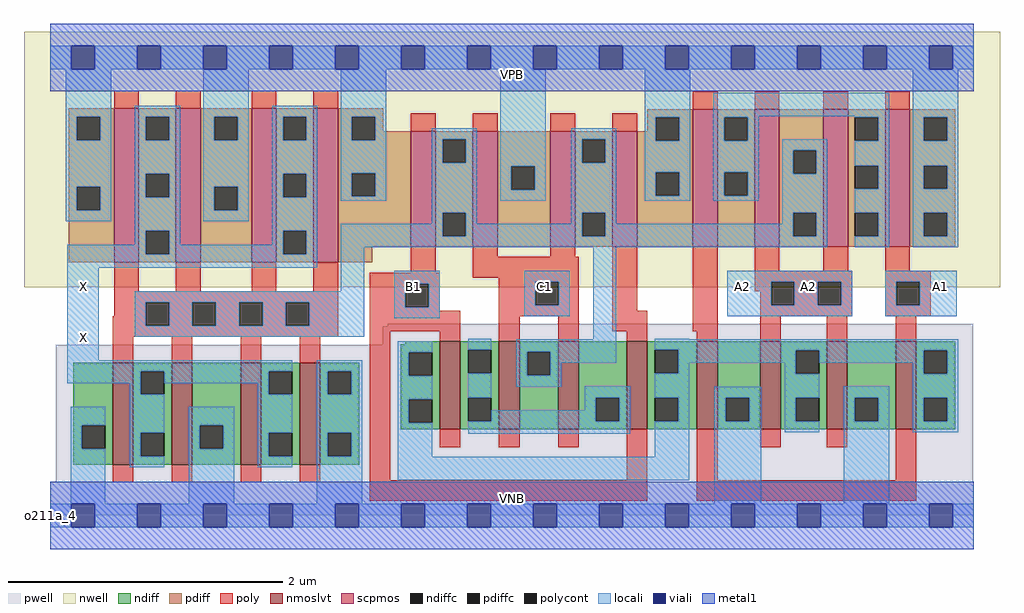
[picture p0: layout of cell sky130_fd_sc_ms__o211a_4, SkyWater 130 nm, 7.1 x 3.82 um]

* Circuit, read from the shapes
.subckt sky130_fd_sc_ms__o211a_4 A1 A2 B1 C1 VGND VNB VPB VPWR X
XM1 X n1 VGND VNB sky130_fd_pr__nfet_01v8_lvt w=0.74 l=0.15 m=4
XM2 n2 B1 n3 VNB sky130_fd_pr__nfet_01v8_lvt w=0.64 l=0.15 m=2
XM3 n1 C1 n2 VNB sky130_fd_pr__nfet_01v8_lvt w=0.64 l=0.15 m=2
XM4 VGND A1 n3 VNB sky130_fd_pr__nfet_01v8_lvt w=0.64 l=0.15 m=2
XM5 n3 A2 VGND VNB sky130_fd_pr__nfet_01v8_lvt w=0.64 l=0.15 m=2
XM6 X n1 VPWR VPB sky130_fd_pr__pfet_01v8 w=1.12 l=0.18 m=4
XM7 n1 B1 VPWR VPB sky130_fd_pr__pfet_01v8 w=0.84 l=0.18 m=2
XM8 VPWR C1 n1 VPB sky130_fd_pr__pfet_01v8 w=0.84 l=0.18 m=2
XM9 n4 A1 VPWR VPB sky130_fd_pr__pfet_01v8 w=1 l=0.18 m=2
XM10 n1 A2 n4 VPB sky130_fd_pr__pfet_01v8 w=1 l=0.18 m=2
.ends

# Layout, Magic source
magic
tech sky130A
magscale 1 2
<< nwell >>
rect -38 332 1382 704
<< pwell >>
rect 491 275 1343 279
rect 484 248 1343 275
rect 8 49 1343 248
rect 0 0 1344 49
<< scpmos >>
rect 93 368 129 592
rect 183 368 219 592
rect 293 368 329 592
rect 383 368 419 592
rect 525 391 561 559
rect 615 391 651 559
rect 728 391 764 559
rect 818 391 854 559
rect 935 391 971 591
rect 1025 391 1061 591
rect 1125 391 1161 591
rect 1215 391 1251 591
<< nmoslvt >>
rect 91 74 121 222
rect 177 74 207 222
rect 277 74 307 222
rect 363 74 393 222
rect 567 125 597 253
rect 653 125 683 253
rect 739 125 769 253
rect 839 125 869 253
rect 941 125 971 253
rect 1033 125 1063 253
rect 1130 125 1160 253
rect 1230 125 1260 253
<< ndiff >>
rect 34 131 91 222
rect 34 97 46 131
rect 80 97 91 131
rect 34 74 91 97
rect 121 210 177 222
rect 121 176 132 210
rect 166 176 177 210
rect 121 120 177 176
rect 121 86 132 120
rect 166 86 177 120
rect 121 74 177 86
rect 207 131 277 222
rect 207 97 218 131
rect 252 97 277 131
rect 207 74 277 97
rect 307 210 363 222
rect 307 176 318 210
rect 352 176 363 210
rect 307 120 363 176
rect 307 86 318 120
rect 352 86 363 120
rect 307 74 363 86
rect 393 210 450 222
rect 393 176 404 210
rect 438 176 450 210
rect 393 120 450 176
rect 393 86 404 120
rect 438 86 450 120
rect 393 74 450 86
rect 517 249 567 253
rect 510 237 567 249
rect 510 203 522 237
rect 556 203 567 237
rect 510 169 567 203
rect 510 135 522 169
rect 556 135 567 169
rect 510 125 567 135
rect 597 241 653 253
rect 597 207 608 241
rect 642 207 653 241
rect 597 171 653 207
rect 597 137 608 171
rect 642 137 653 171
rect 597 125 653 137
rect 683 238 739 253
rect 683 204 694 238
rect 728 204 739 238
rect 683 125 739 204
rect 769 171 839 253
rect 769 137 794 171
rect 828 137 839 171
rect 769 125 839 137
rect 869 241 941 253
rect 869 207 880 241
rect 914 207 941 241
rect 869 171 941 207
rect 869 137 880 171
rect 914 137 941 171
rect 869 125 941 137
rect 971 171 1033 253
rect 971 137 983 171
rect 1017 137 1033 171
rect 971 125 1033 137
rect 1063 240 1130 253
rect 1063 206 1085 240
rect 1119 206 1130 240
rect 1063 171 1130 206
rect 1063 137 1085 171
rect 1119 137 1130 171
rect 1063 125 1130 137
rect 1160 171 1230 253
rect 1160 137 1171 171
rect 1205 137 1230 171
rect 1160 125 1230 137
rect 1260 240 1317 253
rect 1260 206 1271 240
rect 1305 206 1317 240
rect 1260 171 1317 206
rect 1260 137 1271 171
rect 1305 137 1317 171
rect 1260 125 1317 137
<< pdiff >>
rect 27 580 93 592
rect 27 546 39 580
rect 73 546 93 580
rect 27 478 93 546
rect 27 444 39 478
rect 73 444 93 478
rect 27 368 93 444
rect 129 580 183 592
rect 129 546 139 580
rect 173 546 183 580
rect 129 497 183 546
rect 129 463 139 497
rect 173 463 183 497
rect 129 414 183 463
rect 129 380 139 414
rect 173 380 183 414
rect 129 368 183 380
rect 219 580 293 592
rect 219 546 239 580
rect 273 546 293 580
rect 219 478 293 546
rect 219 444 239 478
rect 273 444 293 478
rect 219 368 293 444
rect 329 580 383 592
rect 329 546 339 580
rect 373 546 383 580
rect 329 497 383 546
rect 329 463 339 497
rect 373 463 383 497
rect 329 414 383 463
rect 329 380 339 414
rect 373 380 383 414
rect 329 368 383 380
rect 419 580 485 592
rect 419 546 439 580
rect 473 559 485 580
rect 869 579 935 591
rect 869 559 881 579
rect 473 546 525 559
rect 419 498 525 546
rect 419 464 439 498
rect 473 464 525 498
rect 419 391 525 464
rect 561 547 615 559
rect 561 513 571 547
rect 605 513 615 547
rect 561 440 615 513
rect 561 406 571 440
rect 605 406 615 440
rect 561 391 615 406
rect 651 508 728 559
rect 651 474 671 508
rect 705 474 728 508
rect 651 391 728 474
rect 764 547 818 559
rect 764 513 774 547
rect 808 513 818 547
rect 764 440 818 513
rect 764 406 774 440
rect 808 406 818 440
rect 764 391 818 406
rect 854 545 881 559
rect 915 545 935 579
rect 854 499 935 545
rect 854 465 881 499
rect 915 465 935 499
rect 854 391 935 465
rect 971 579 1025 591
rect 971 545 981 579
rect 1015 545 1025 579
rect 971 499 1025 545
rect 971 465 981 499
rect 1015 465 1025 499
rect 971 391 1025 465
rect 1061 531 1125 591
rect 1061 497 1081 531
rect 1115 497 1125 531
rect 1061 440 1125 497
rect 1061 406 1081 440
rect 1115 406 1125 440
rect 1061 391 1125 406
rect 1161 579 1215 591
rect 1161 545 1171 579
rect 1205 545 1215 579
rect 1161 509 1215 545
rect 1161 475 1171 509
rect 1205 475 1215 509
rect 1161 440 1215 475
rect 1161 406 1171 440
rect 1205 406 1215 440
rect 1161 391 1215 406
rect 1251 579 1317 591
rect 1251 545 1271 579
rect 1305 545 1317 579
rect 1251 509 1317 545
rect 1251 475 1271 509
rect 1305 475 1317 509
rect 1251 440 1317 475
rect 1251 406 1271 440
rect 1305 406 1317 440
rect 1251 391 1317 406
rect 419 368 469 391
<< ndiffc >>
rect 46 97 80 131
rect 132 176 166 210
rect 132 86 166 120
rect 218 97 252 131
rect 318 176 352 210
rect 318 86 352 120
rect 404 176 438 210
rect 404 86 438 120
rect 522 203 556 237
rect 522 135 556 169
rect 608 207 642 241
rect 608 137 642 171
rect 694 204 728 238
rect 794 137 828 171
rect 880 207 914 241
rect 880 137 914 171
rect 983 137 1017 171
rect 1085 206 1119 240
rect 1085 137 1119 171
rect 1171 137 1205 171
rect 1271 206 1305 240
rect 1271 137 1305 171
<< pdiffc >>
rect 39 546 73 580
rect 39 444 73 478
rect 139 546 173 580
rect 139 463 173 497
rect 139 380 173 414
rect 239 546 273 580
rect 239 444 273 478
rect 339 546 373 580
rect 339 463 373 497
rect 339 380 373 414
rect 439 546 473 580
rect 439 464 473 498
rect 571 513 605 547
rect 571 406 605 440
rect 671 474 705 508
rect 774 513 808 547
rect 774 406 808 440
rect 881 545 915 579
rect 881 465 915 499
rect 981 545 1015 579
rect 981 465 1015 499
rect 1081 497 1115 531
rect 1081 406 1115 440
rect 1171 545 1205 579
rect 1171 475 1205 509
rect 1171 406 1205 440
rect 1271 545 1305 579
rect 1271 475 1305 509
rect 1271 406 1305 440
<< poly >>
rect 93 592 129 618
rect 183 592 219 618
rect 293 592 329 618
rect 383 592 419 618
rect 935 591 971 617
rect 1025 591 1061 617
rect 1125 591 1161 617
rect 1215 591 1251 617
rect 525 559 561 585
rect 615 559 651 585
rect 728 559 764 585
rect 818 559 854 585
rect 93 326 129 368
rect 183 326 219 368
rect 293 326 329 368
rect 383 326 419 368
rect 525 353 561 391
rect 615 376 651 391
rect 728 376 764 391
rect 93 310 419 326
rect 93 290 139 310
rect 91 276 139 290
rect 173 276 207 310
rect 241 276 275 310
rect 309 276 343 310
rect 377 276 419 310
rect 91 260 419 276
rect 465 337 567 353
rect 615 346 769 376
rect 465 303 517 337
rect 551 303 567 337
rect 465 298 567 303
rect 653 340 769 346
rect 653 306 706 340
rect 740 306 769 340
rect 465 268 597 298
rect 91 222 121 260
rect 177 222 207 260
rect 277 222 307 260
rect 363 222 393 260
rect 91 48 121 74
rect 177 48 207 74
rect 277 48 307 74
rect 363 48 393 74
rect 465 51 495 268
rect 567 253 597 268
rect 653 290 769 306
rect 653 253 683 290
rect 739 253 769 290
rect 818 298 854 391
rect 818 268 869 298
rect 935 268 971 391
rect 1025 356 1061 391
rect 1125 356 1161 391
rect 1215 356 1251 391
rect 1025 340 1167 356
rect 1025 326 1049 340
rect 839 253 869 268
rect 941 253 971 268
rect 1033 306 1049 326
rect 1083 306 1117 340
rect 1151 306 1167 340
rect 1033 290 1167 306
rect 1215 340 1281 356
rect 1215 306 1231 340
rect 1265 306 1281 340
rect 1215 290 1281 306
rect 1033 253 1063 290
rect 1130 253 1160 290
rect 1230 253 1260 290
rect 567 99 597 125
rect 653 99 683 125
rect 739 99 769 125
rect 839 51 869 125
rect 465 21 869 51
rect 941 51 971 125
rect 1033 99 1063 125
rect 1130 99 1160 125
rect 1230 51 1260 125
rect 941 21 1260 51
<< polycont >>
rect 139 276 173 310
rect 207 276 241 310
rect 275 276 309 310
rect 343 276 377 310
rect 517 303 551 337
rect 706 306 740 340
rect 1049 306 1083 340
rect 1117 306 1151 340
rect 1231 306 1265 340
<< locali >>
rect 0 649 31 683
rect 65 649 127 683
rect 161 649 223 683
rect 257 649 319 683
rect 353 649 415 683
rect 449 649 511 683
rect 545 649 607 683
rect 641 649 703 683
rect 737 649 799 683
rect 833 649 895 683
rect 929 649 991 683
rect 1025 649 1087 683
rect 1121 649 1183 683
rect 1217 649 1279 683
rect 1313 649 1344 683
rect 23 580 89 649
rect 23 546 39 580
rect 73 546 89 580
rect 23 478 89 546
rect 23 444 39 478
rect 73 444 89 478
rect 23 428 89 444
rect 123 580 189 596
rect 123 546 139 580
rect 173 546 189 580
rect 123 497 189 546
rect 123 463 139 497
rect 173 463 189 497
rect 123 414 189 463
rect 223 580 289 649
rect 223 546 239 580
rect 273 546 289 580
rect 223 478 289 546
rect 223 444 239 478
rect 273 444 289 478
rect 223 428 289 444
rect 323 580 389 596
rect 323 546 339 580
rect 373 546 389 580
rect 323 497 389 546
rect 323 463 339 497
rect 373 463 389 497
rect 123 394 139 414
rect 25 380 139 394
rect 173 394 189 414
rect 323 414 389 463
rect 423 580 489 649
rect 423 546 439 580
rect 473 546 489 580
rect 423 498 489 546
rect 423 464 439 498
rect 473 464 489 498
rect 423 458 489 464
rect 555 547 621 563
rect 555 513 571 547
rect 605 513 621 547
rect 555 440 621 513
rect 655 508 721 649
rect 865 579 931 649
rect 655 474 671 508
rect 705 474 721 508
rect 655 458 721 474
rect 758 547 824 563
rect 758 513 774 547
rect 808 513 824 547
rect 555 424 571 440
rect 323 394 339 414
rect 173 380 339 394
rect 373 380 389 414
rect 25 360 389 380
rect 423 406 571 424
rect 605 424 621 440
rect 758 440 824 513
rect 865 545 881 579
rect 915 545 931 579
rect 865 499 931 545
rect 865 465 881 499
rect 915 465 931 499
rect 865 458 931 465
rect 965 581 1221 615
rect 965 579 1031 581
rect 965 545 981 579
rect 1015 545 1031 579
rect 1171 579 1221 581
rect 965 499 1031 545
rect 965 465 981 499
rect 1015 465 1031 499
rect 965 458 1031 465
rect 1065 531 1131 547
rect 1065 497 1081 531
rect 1115 497 1131 531
rect 758 424 774 440
rect 605 406 774 424
rect 808 424 824 440
rect 1065 440 1131 497
rect 1065 424 1081 440
rect 808 406 1081 424
rect 1115 406 1131 440
rect 423 390 1131 406
rect 1205 545 1221 579
rect 1171 509 1221 545
rect 1205 475 1221 509
rect 1171 440 1221 475
rect 1205 406 1221 440
rect 1171 390 1221 406
rect 1255 579 1321 649
rect 1255 545 1271 579
rect 1305 545 1321 579
rect 1255 509 1321 545
rect 1255 475 1271 509
rect 1305 475 1321 509
rect 1255 440 1321 475
rect 1255 406 1271 440
rect 1305 406 1321 440
rect 1255 390 1321 406
rect 25 226 71 360
rect 423 326 457 390
rect 123 310 457 326
rect 123 276 139 310
rect 173 276 207 310
rect 241 276 275 310
rect 309 276 343 310
rect 377 276 457 310
rect 501 337 567 356
rect 501 303 517 337
rect 551 303 567 337
rect 501 287 567 303
rect 690 340 756 356
rect 690 306 706 340
rect 740 306 756 340
rect 690 290 756 306
rect 123 260 457 276
rect 506 237 556 253
rect 25 210 352 226
rect 25 192 132 210
rect 116 176 132 192
rect 166 192 318 210
rect 30 131 80 158
rect 30 97 46 131
rect 30 17 80 97
rect 116 120 166 176
rect 302 176 318 192
rect 116 86 132 120
rect 116 70 166 86
rect 202 131 268 158
rect 202 97 218 131
rect 252 97 268 131
rect 202 17 268 97
rect 302 120 352 176
rect 302 86 318 120
rect 302 70 352 86
rect 388 210 454 226
rect 388 176 404 210
rect 438 176 454 210
rect 388 120 454 176
rect 388 86 404 120
rect 438 86 454 120
rect 388 17 454 86
rect 506 203 522 237
rect 506 169 556 203
rect 506 135 522 169
rect 506 85 556 135
rect 608 241 642 257
rect 790 256 824 390
rect 985 340 1167 356
rect 985 306 1049 340
rect 1083 306 1117 340
rect 1151 306 1167 340
rect 985 290 1167 306
rect 1215 340 1319 356
rect 1215 306 1231 340
rect 1265 306 1319 340
rect 1215 290 1319 306
rect 608 171 642 207
rect 678 238 824 256
rect 678 204 694 238
rect 728 222 824 238
rect 880 256 930 257
rect 880 241 1321 256
rect 728 204 744 222
rect 678 187 744 204
rect 914 240 1321 241
rect 914 222 1085 240
rect 914 207 930 222
rect 778 171 844 188
rect 778 153 794 171
rect 642 137 794 153
rect 828 137 844 171
rect 608 119 844 137
rect 880 171 930 207
rect 1069 206 1085 222
rect 1119 222 1271 240
rect 914 137 930 171
rect 880 85 930 137
rect 506 51 930 85
rect 966 171 1035 187
rect 966 137 983 171
rect 1017 137 1035 171
rect 966 17 1035 137
rect 1069 171 1119 206
rect 1255 206 1271 222
rect 1305 206 1321 240
rect 1069 137 1085 171
rect 1069 121 1119 137
rect 1155 171 1221 188
rect 1155 137 1171 171
rect 1205 137 1221 171
rect 1155 17 1221 137
rect 1255 171 1321 206
rect 1255 137 1271 171
rect 1305 137 1321 171
rect 1255 121 1321 137
rect 0 -17 31 17
rect 65 -17 127 17
rect 161 -17 223 17
rect 257 -17 319 17
rect 353 -17 415 17
rect 449 -17 511 17
rect 545 -17 607 17
rect 641 -17 703 17
rect 737 -17 799 17
rect 833 -17 895 17
rect 929 -17 991 17
rect 1025 -17 1087 17
rect 1121 -17 1183 17
rect 1217 -17 1279 17
rect 1313 -17 1344 17
<< viali >>
rect 31 649 65 683
rect 127 649 161 683
rect 223 649 257 683
rect 319 649 353 683
rect 415 649 449 683
rect 511 649 545 683
rect 607 649 641 683
rect 703 649 737 683
rect 799 649 833 683
rect 895 649 929 683
rect 991 649 1025 683
rect 1087 649 1121 683
rect 1183 649 1217 683
rect 1279 649 1313 683
rect 31 -17 65 17
rect 127 -17 161 17
rect 223 -17 257 17
rect 319 -17 353 17
rect 415 -17 449 17
rect 511 -17 545 17
rect 607 -17 641 17
rect 703 -17 737 17
rect 799 -17 833 17
rect 895 -17 929 17
rect 991 -17 1025 17
rect 1087 -17 1121 17
rect 1183 -17 1217 17
rect 1279 -17 1313 17
<< metal1 >>
rect 0 683 1344 715
rect 0 649 31 683
rect 65 649 127 683
rect 161 649 223 683
rect 257 649 319 683
rect 353 649 415 683
rect 449 649 511 683
rect 545 649 607 683
rect 641 649 703 683
rect 737 649 799 683
rect 833 649 895 683
rect 929 649 991 683
rect 1025 649 1087 683
rect 1121 649 1183 683
rect 1217 649 1279 683
rect 1313 649 1344 683
rect 0 617 1344 649
rect 0 17 1344 49
rect 0 -17 31 17
rect 65 -17 127 17
rect 161 -17 223 17
rect 257 -17 319 17
rect 353 -17 415 17
rect 449 -17 511 17
rect 545 -17 607 17
rect 641 -17 703 17
rect 737 -17 799 17
rect 833 -17 895 17
rect 929 -17 991 17
rect 1025 -17 1087 17
rect 1121 -17 1183 17
rect 1217 -17 1279 17
rect 1313 -17 1344 17
rect 0 -49 1344 -17
<< labels >>
flabel pwell s 0 0 1344 49 0 FreeSans 200 0 0 0 VNB
port 6 nsew ground bidirectional
flabel nwell s 0 617 1344 666 0 FreeSans 200 0 0 0 VPB
port 7 nsew power bidirectional
rlabel comment s 0 0 0 0 4 o211a_4
flabel metal1 s 0 617 1344 666 0 FreeSans 340 0 0 0 VPWR
port 8 nsew power bidirectional
flabel metal1 s 0 0 1344 49 0 FreeSans 340 0 0 0 VGND
port 5 nsew ground bidirectional
flabel locali s 1279 316 1313 350 0 FreeSans 340 0 0 0 A1
port 1 nsew signal input
flabel locali s 991 316 1025 350 0 FreeSans 340 0 0 0 A2
port 2 nsew signal input
flabel locali s 1087 316 1121 350 0 FreeSans 340 0 0 0 A2
port 2 nsew signal input
flabel locali s 511 316 545 350 0 FreeSans 340 0 0 0 B1
port 3 nsew signal input
flabel locali s 703 316 737 350 0 FreeSans 340 0 0 0 C1
port 4 nsew signal input
flabel locali s 31 242 65 276 0 FreeSans 340 0 0 0 X
port 9 nsew signal output
flabel locali s 31 316 65 350 0 FreeSans 340 0 0 0 X
port 9 nsew signal output
<< properties >>
string LEFsite unit
string LEFclass CORE
string FIXED_BBOX 0 0 1344 666
string GDS_FILE $PDKPATH/libs.ref/sky130_fd_sc_ms/gds/sky130_fd_sc_ms.gds
string LEFsymmetry X Y
string GDS_END 1585618
string GDS_START 1574882
<< end >>
